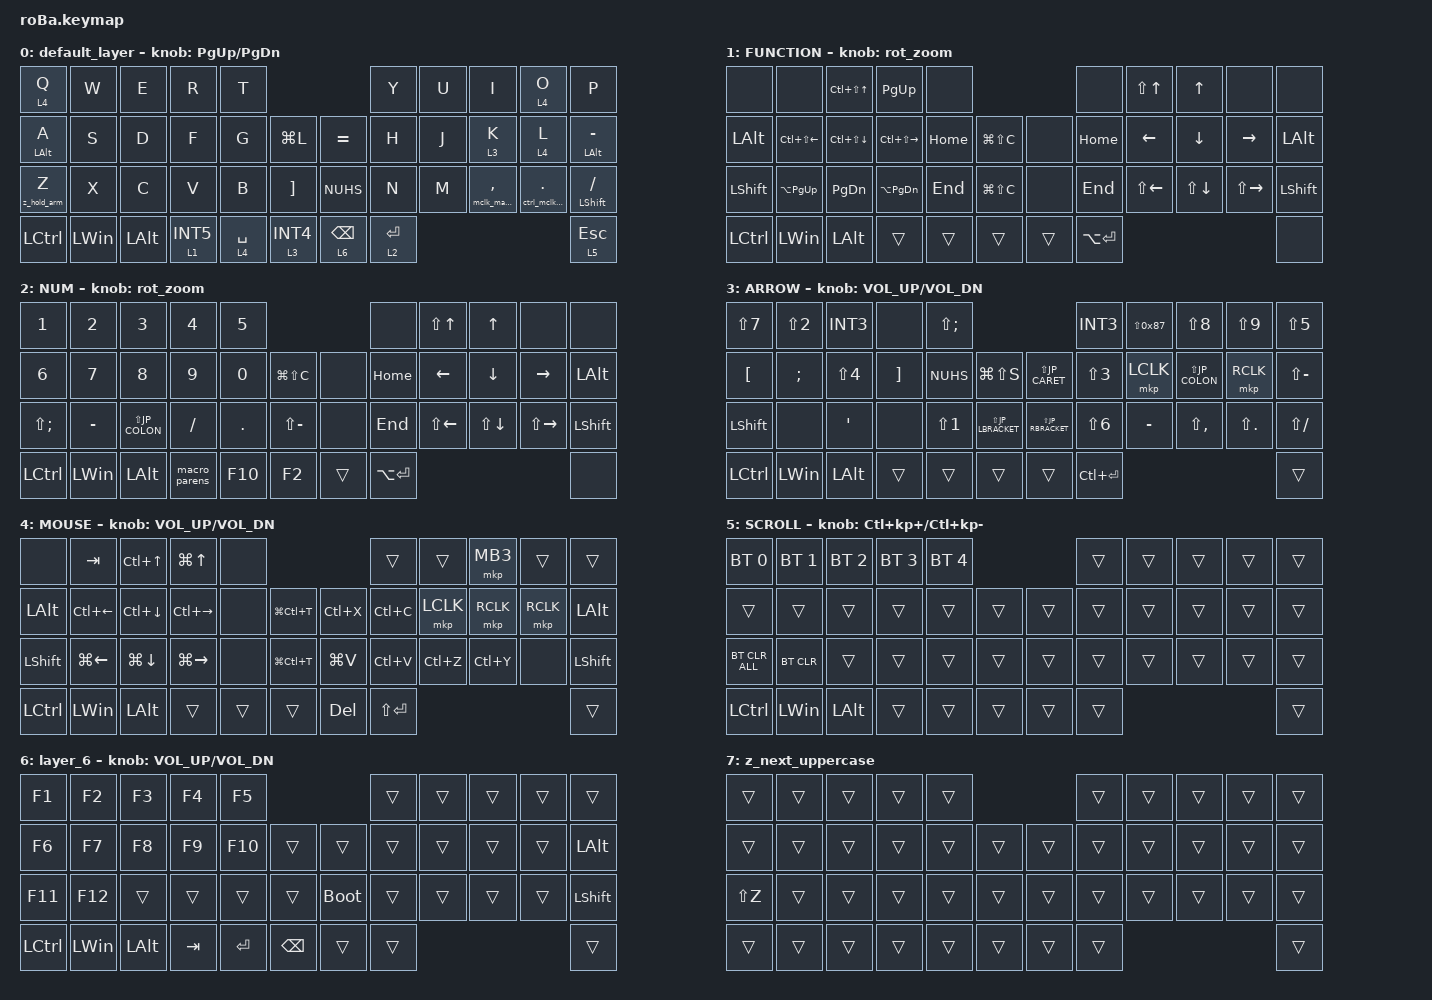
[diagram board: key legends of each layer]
#include <behaviors.dtsi>
#include <dt-bindings/zmk/bt.h>
#include <dt-bindings/zmk/keys.h>
#include <dt-bindings/zmk/pointing.h>

&sl {
    release-after-ms = <300>;
};

&mt {
    flavor = "balanced";
    quick-tap-ms = <0>;
};

// -------------------------------------------------------------------------
// JIS変換定義 (OSが日本語配列設定の場合の出力マッピング)
// -------------------------------------------------------------------------
#define JP_AT           LBKT             // @ (USの [ キー)
#define JP_CARET        EQUAL            // ^ (USの = キー)
#define JP_YEN          INT3             // ¥ (JISの ¥ キー)
#define JP_PIPE         LS(INT3)         // | (Shift + ¥)
#define JP_COLON        SQT              // : (USの ' キー)
#define JP_LBRACKET     RBKT             // [ (USの ] キー)
#define JP_RBRACKET     NUHS             // ] (USの \ キー / Non-US #)
#define JP_UNDERSCORE   LS(INT1)         // _ (Shift + Ro)
#define JP_BACKSLASH    INT1             // \ (Roキー)

// Shiftが必要な記号
#define JP_DQUOTE       LS(N2)           // "
#define JP_AMPERSAND    LS(N6)           // &
#define JP_QUOTE        LS(N7)           // '
#define JP_LPAREN       LS(N8)           // (
#define JP_RPAREN       LS(N9)           // )
#define JP_EQUAL        LS(MINUS)        // =
#define JP_PLUS         LS(SEMI)         // +
#define JP_ASTERISK     LS(SQT)          // *
#define JP_TILD         LS(EQUAL)        // ~
#define JP_GRAVE        LS(LBKT)         // `
#define JP_LBRACE       LS(RBKT)         // {
#define JP_RBRACE       LS(NUHS)         // }


&trackball {
//    automouse-layer = <4>;
//    scroll-layers = <3>;

    // arrows {
    //     layers = <3>;
    //     bindings =
    //         <&kp RIGHT_ARROW>,
    //         <&kp LEFT_ARROW>,
    //         <&kp UP_ARROW>,
    //         <&kp DOWN_ARROW>;

    //     tick = <10>;
    //     wait-ms = <5>;
    //     tap-ms = <5>;
    // };
};

/ {
    combos {
        compatible = "zmk,combos";

        tab {
            bindings = <&kp TAB>;
            key-positions = <0 1>;
        };

        shift_tab {
            bindings = <&kp LS(TAB)>;
            key-positions = <1 2>;
        };

//        muhennkann {
//            bindings = <&to_layer_0 INT_MUHENKAN>;
//            key-positions = <11 10>;
//        };

//        double_quotation {
//            bindings = <&kp DOUBLE_QUOTES>;
//            key-positions = <20 21>;
//        };

//        eq {
//            bindings = <&kp EQUAL>;
//            key-positions = <24 25>;
//        };
    };

    macros {
        to_layer_0: to_layer_0 {
            compatible = "zmk,behavior-macro-one-param";
            #binding-cells = <1>;
            bindings = <&to 0 &macro_param_1to1 &kp MACRO_PLACEHOLDER>;
            label = "TO_LAYER_0";
        };

        // Hold Z: Shift while pressed; arm one-shot uppercase Z after release.
        z_hold_arm: z_hold_arm {
            compatible = "zmk,behavior-macro";
            #binding-cells = <0>;
            wait-ms = <0>;
            tap-ms = <10>;
            bindings =
                <&macro_press &kp LSHFT>
                , <&macro_pause_for_release>
                , <&macro_release &kp LSHFT>
                , <&macro_tap &sl 7>;
        };

        zoom_in: zoom_in {
            compatible = "zmk,behavior-macro";
            #binding-cells = <0>;
            wait-ms = <15>; // 連続入力時の安定化
            tap-ms = <15>;
            bindings
                = <&macro_press &kp LCTRL>
                , <&macro_tap &msc SCRL_UP>
                , <&macro_release &kp LCTRL>;
        };

        zoom_out: zoom_out {
            compatible = "zmk,behavior-macro";
            #binding-cells = <0>;
            wait-ms = <15>;
            tap-ms = <15>;
            bindings
                = <&macro_press &kp LCTRL>
                , <&macro_tap &msc SCRL_DOWN>
                , <&macro_release &kp LCTRL>;
        };

        macro_parens: macro_parens {
            compatible = "zmk,behavior-macro";
            #binding-cells = <0>;
            wait-ms = <20>; // キー入力間の待機時間
            tap-ms = <20>;  // キーを押している時間
            bindings
                = <&kp LS(N8)>    // 「(」を入力
                , <&kp LS(N9)>    // 「)」を入力
                , <&kp LEFT>;  // 左矢印「←」を入力してカーソルを戻す
        };

        // 単発・ホールド兼用のミドルクリックマクロ
        mclk_macro_hold: mclk_macro_hold {
            compatible = "zmk,behavior-macro";
            #binding-cells = <0>;
            wait-ms = <0>;
            tap-ms = <0>;
            bindings = <&macro_press &mkp MB3>
                     , <&macro_pause_for_release>
                     , <&macro_release &mkp MB3>;
        };

        // Ctrl＋ミドルクリックのホールド用マクロ
        ctrl_mclk_macro_hold: ctrl_mclk_macro_hold {
            compatible = "zmk,behavior-macro";
            #binding-cells = <0>;
            wait-ms = <0>;
            tap-ms = <0>;
            bindings = <&macro_press &kp LCTRL &mkp MB3>
                     , <&macro_pause_for_release>
                     , <&macro_release &kp LCTRL &mkp MB3>;
        };
    };

    behaviors {
        // Z: Hold-Tap is outermost so another key press resolves Shift
        // immediately. Tap Dance runs only after a genuine tap release.
        // Prioritize Japanese romaji typing order: emit z on tap release,
        // without waiting for a double-tap window.
        // Holding for 170 ms activates Left Shift.
        z_shift: z_shift {
            compatible = "zmk,behavior-hold-tap";
            label = "Z_SHIFT";
            #binding-cells = <2>;
            bindings = <&z_hold_arm>, <&kp>;
            flavor = "tap-preferred";
            tapping-term-ms = <170>;
            quick-tap-ms = <0>;
            require-prior-idle-ms = <125>;
        };

        inc_dec_msc: behavior_sensor_rotate_mouse_wheel {
            compatible = "zmk,behavior-sensor-rotate-var";
            #sensor-binding-cells = <2>;
            bindings = <&msc>, <&msc>;
        };

        lt_to_layer_0: lt_to_layer_0 {
            compatible = "zmk,behavior-hold-tap";
            label = "LAYER_TAP_TO_0";
            bindings = <&mo>, <&to_layer_0>;

            #binding-cells = <2>;
            tapping-term-ms = <200>;
        };

        // スクロール用のbehaviorの設定
        scroll_down_up: scroll_down_up {
            compatible = "zmk,behavior-sensor-rotate";
            #sensor-binding-cells = <0>;
            bindings = <&msc SCRL_DOWN>, <&msc SCRL_UP>;
        };

        // A専用: 単独保持時のAlt確定を200msから320msへ遅らせる。
        // 他のキーとの同時打鍵では元のtap-preferredを維持する。
        a_alt_slow: a_alt_slow {
            compatible = "zmk,behavior-hold-tap";
            #binding-cells = <2>;
            bindings = <&kp>, <&kp>;
            flavor = "tap-preferred";
            tapping-term-ms = <320>;
            quick-tap-ms = <150>;
            require-prior-idle-ms = <125>;
        };

        // 右Shift専用: 左Zと同じ170ms。通常のスラッシュ入力はタップ優先。
        slash_shift_fast: slash_shift_fast {
            compatible = "zmk,behavior-hold-tap";
            #binding-cells = <2>;
            bindings = <&kp>, <&kp>;
            flavor = "tap-preferred";
            tapping-term-ms = <170>;
            quick-tap-ms = <0>;
            require-prior-idle-ms = <125>;
        };

        // 高速タイピング用のMod-Tap設定（Home Row Mods用）
        mt_tap: mod_tap_preferred {
            compatible = "zmk,behavior-hold-tap";
            #binding-cells = <2>;
            flavor = "tap-preferred";      // ★重要：他のキーと重なってもTap（文字）を優先する
            tapping-term-ms = <200>;       // 長押しの判定時間（好みで調整）
            quick-tap-ms = <150>;          // 連続タップで文字をリピートさせる
            require-prior-idle-ms = <125>; // ★超重要：直前に別のキーを打っていたら、強制的にTapにする
            bindings = <&kp>, <&kp>;
        };
        
        // KとL専用の遅いLayer-Tap
        lt_slow: layer_tap_slow {
            compatible = "zmk,behavior-hold-tap";
            #binding-cells = <2>;
            flavor = "tap-preferred"; // 短く押した時は確実にキー入力を優先
            tapping-term-ms = <250>;  // ★ここを好みの長さに設定（デフォルトは200）
            quick-tap-ms = <200>;     // 連続タップ時のレイヤー暴発防止
            require-prior-idle-ms = <125>; // ★これを追加：直前に別のキー入力があれば絶対にTap(文字)にする
            bindings = <&mo>, <&kp>;  // 長押しでレイヤー(&mo)、短押しでキー(&kp)
            
            display-name = "Layer Tap Slow";
        };

        // ダブルタップ＆ホールドで連続バックスペースになるLayer-Tap
        lt_bspc: layer_tap_backspace {
            compatible = "zmk,behavior-hold-tap";
            #binding-cells = <2>;
            flavor = "tap-preferred";
            tapping-term-ms = <200>; // 通常の長押し（Hold）判定時間
            quick-tap-ms = <200>;    // ★ここがダブルタップリピートの受付時間です
            bindings = <&mo>, <&kp>; // ※もしMod-Tapとして使う場合は <&kp>, <&kp> にしてください
        };

        rot_zoom: rot_zoom {
            compatible = "zmk,behavior-sensor-rotate";
            #sensor-binding-cells = <0>;
            // ★右回りと左回りの順番を逆にすることで方向を反転
            bindings = <&zoom_out>, <&zoom_in>; 
        };

        // ① カンマ用：ホールドでMB3、タップで通常のキー（bindingsを同一種にするためマクロでラップ）
        p_mt_mb3: p_mt_mb3 {
            compatible = "zmk,behavior-hold-tap";
            #binding-cells = <2>;
            flavor = "tap-preferred";
            tapping-term-ms = <200>;
            quick-tap-ms = <150>;
            require-prior-idle-ms = <125>;
            bindings = <&mclk_macro_hold>, <&kp>; // 両方とも「マクロ」として扱うことでエラーを回避
        };

        // ② ドット用：ホールドでCtrl+MB3、タップで通常のキー
        p_mt_ctrl_mb3: p_mt_ctrl_mb3 {
            compatible = "zmk,behavior-hold-tap";
            #binding-cells = <2>;
            flavor = "tap-preferred";
            tapping-term-ms = <200>;
            quick-tap-ms = <150>;
            require-prior-idle-ms = <125>;
            bindings = <&ctrl_mclk_macro_hold>, <&kp>; // 両方とも「マクロ」として扱う
        };

    };

    keymap {
        compatible = "zmk,keymap";

        default_layer {
            sensor-bindings = <&inc_dec_kp PG_UP PAGE_DOWN>;
            bindings = <
&lt_slow 4 Q      &kp W         &kp E         &kp R       &kp T                                                     &kp Y        &kp U  &kp I               &lt_slow 4 O        &kp P
&a_alt_slow LALT A    &kp S         &kp D         &kp F       &kp G        &kp LG(L)                 &kp JP_CARET       &kp H        &kp J  &lt_slow 3 K        &lt_slow 4 L        &a_alt_slow LALT MINUS
&z_shift 0 Z   &kp X         &kp C         &kp V       &kp B        &kp JP_LBRACKET           &kp JP_RBRACKET    &kp N        &kp M  &p_mt_mb3 0 COMMA   &p_mt_ctrl_mb3 0 DOT &slash_shift_fast LSHFT SLASH
&kp LCTRL         &kp LWIN      &kp LEFT_ALT  &lt 1 INT5  &lt 4 SPACE  &lt 3 INT4                &lt_bspc 6 BSPC  &lt 2 RET                                                     &lt 5 ESC
            >;
        };

        FUNCTION {
            sensor-bindings = <&rot_zoom>;
            bindings = <
&none      &none                &kp LC(LS(UP))    &kp PG_UP           &none                              &none           &kp LS(UP)       &kp UP            &none          &none
&kp LALT   &kp LC(LS(LEFT))     &kp LC(LS(DOWN))  &kp LC(LS(RIGHT))   &kp HOME  &kp LG(LS(C))   &none    &kp HOME        &kp LEFT         &kp DOWN          &kp RIGHT      &kp LALT
&kp LSHFT  &kp LA(PG_UP)        &kp PG_DN         &kp LA(PG_DN)       &kp END   &kp LG(LS(C))   &none    &kp END         &kp LS(LEFT)     &kp LS(DOWN)      &kp LS(RIGHT)  &kp LSHFT
&kp LCTRL  &kp LWIN             &kp LALT          &trans              &trans    &trans          &trans   &kp LA(ENTER)                                                     &none
            >;
        };

        NUM {
            sensor-bindings = <&rot_zoom>;
            bindings = <
&kp N1       &kp N2      &kp N3           &kp N4        &kp N5                                  &none         &kp LS(UP)       &kp UP            &none          &none
&kp N6       &kp N7      &kp N8           &kp N9        &kp N0   &kp LG(LS(C))        &none     &kp HOME      &kp LEFT         &kp DOWN          &kp RIGHT      &kp LALT
&kp LS(SEMI) &kp MINUS   &kp LS(JP_COLON) &kp FSLH      &kp DOT  &kp LS(MINUS)        &none     &kp END       &kp LS(LEFT)     &kp LS(DOWN)      &kp LS(RIGHT)  &kp LSHFT
&kp LCTRL    &kp LWIN    &kp LALT         &macro_parens &kp F10  &kp F2                         &trans        &kp LA(ENTER)                                     &none
            >;
        };

        ARROW {
            sensor-bindings = <&inc_dec_kp C_VOL_UP C_VOL_DN>;
            bindings = <
&kp LS(N7)    &kp LS(N2)    &kp JP_YEN    &none           &kp LS(SEMI)                                                 &kp JP_YEN   &kp LS(0x87) &kp LS(N8)       &kp LS(N9)  &kp LS(N5)
&kp JP_AT     &kp SEMI      &kp LS(N4)    &kp JP_LBRACKET &kp JP_RBRACKET  &kp LG(LS(S))         &kp LS(JP_CARET)      &kp LS(N3)   &mkp LCLK    &kp LS(JP_COLON) &mkp RCLK   &kp LS(MINUS)
&kp LSHFT     &none         &kp JP_COLON  &none           &kp LS(N1)       &kp LS(JP_LBRACKET)   &kp LS(JP_RBRACKET)   &kp LS(N6)   &kp MINUS    &kp LS(COMMA)    &kp LS(DOT) &kp LS(FSLH)
&kp LCTRL     &kp LWIN      &kp LALT      &trans          &trans           &trans                &trans      &kp LC(ENTER)                                                    &trans
            >;
        };

        MOUSE {
            sensor-bindings = <&inc_dec_kp C_VOL_UP C_VOL_DN>;
            bindings = <
&none      &kp TAB        &kp LC(UP)     &kp LG(UP)     &none                                  &trans     &trans     &mkp MB3    &trans       &trans
&kp LALT   &kp LC(LEFT)   &kp LC(DOWN)   &kp LC(RIGHT)  &none    &kp LG(LC(T))      &kp LC(X)  &kp LC(C)  &mkp LCLK  &mkp RCLK   &mkp RCLK    &kp LALT
&kp LSHFT  &kp LG(LEFT)   &kp LG(DOWN)   &kp LG(RIGHT)  &none    &kp LG(LC(T))      &kp LG(V)  &kp LC(V)  &kp LC(Z)  &kp LC(Y)   &none        &kp LSHFT
&kp LCTRL  &kp LWIN       &kp LALT       &trans         &trans   &trans             &kp DEL    &kp LS(ENTER)                                  &trans
            >;
        };

        SCROLL {
            sensor-bindings = <&inc_dec_kp LC(KP_PLUS) LC(KP_MINUS)>;            
            bindings = <
&bt BT_SEL 0    &bt BT_SEL 1  &bt BT_SEL 2  &bt BT_SEL 3    &bt BT_SEL 4                          &trans  &trans  &trans  &trans  &trans
&trans          &trans        &trans        &trans          &trans          &trans        &trans  &trans  &trans  &trans  &trans  &trans
&bt BT_CLR_ALL  &bt BT_CLR    &trans        &trans          &trans          &trans        &trans  &trans  &trans  &trans  &trans  &trans
&kp LCTRL       &kp LWIN      &kp LALT      &trans          &trans          &trans        &trans  &trans                          &trans
            >;
        };

        layer_6 {
            sensor-bindings = <&inc_dec_kp C_VOL_UP C_VOL_DN>;            
            bindings = <
&kp F1     &kp F2    &kp F3       &kp F4    &kp F5                            &trans   &trans  &trans  &trans  &trans
&kp F6     &kp F7    &kp F8       &kp F9    &kp F10  &trans      &trans       &trans   &trans  &trans  &trans  &kp LALT
&kp F11    &kp F12   &trans       &trans    &trans   &trans      &bootloader  &trans   &trans  &trans  &trans  &kp LSHFT
&kp LCTRL  &kp LWIN  &kp LALT     &kp TAB   &kp RET  &kp BSPC    &trans       &trans                           &trans
            >;
        };

        // The next key only: Z becomes uppercase; other keys remain unchanged.
        // Sticky layer 7 expires after 300 ms and is cleared by any other key.
        z_next_uppercase {
            bindings = <
&trans &trans &trans &trans &trans &trans &trans &trans &trans &trans
&trans &trans &trans &trans &trans &trans &trans &trans &trans &trans &trans &trans
&kp LS(Z) &trans &trans &trans &trans &trans &trans &trans &trans &trans &trans &trans
&trans &trans &trans &trans &trans &trans &trans &trans &trans
            >;
        };
    };
};
